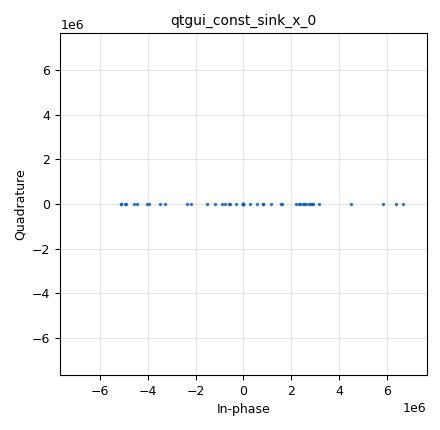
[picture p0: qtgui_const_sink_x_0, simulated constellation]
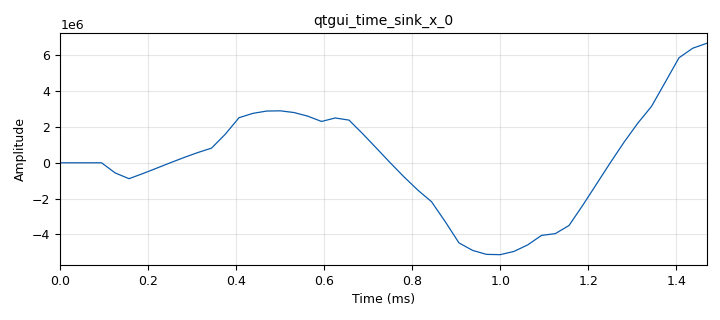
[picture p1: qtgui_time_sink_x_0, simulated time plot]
options:
  parameters:
    author: yabool2001
    copyright: mzemlo.pl@gmail.com
    description: QPSK Modulator example 01
    generate_options: qt_gui
    id: qpsk_modulator_chatgpt_01
    output_language: python
    title: ChatGPT QPSK Modulator 01
  states: {}

blocks:
- name: samp_rate
  id: variable
  parameters:
    value: '32000'
  states: {}
- name: sps
  id: variable
  parameters:
    value: '32'
  states: {}
- name: analog_sig_source_x_0
  id: analog_sig_source_x
  parameters:
    amp: '1'
    freq: '1000'
    offset: '0'
    phase: '0'
    samp_rate: samp_rate
    type: float
    waveform: analog.GR_SIN_WAVE
  states: {}
- name: analog_sig_source_x_0_0
  id: analog_sig_source_x
  parameters:
    amp: '1'
    freq: '1000'
    offset: '0'
    phase: '0'
    samp_rate: samp_rate
    type: float
    waveform: analog.GR_COS_WAVE
  states: {}
- name: blocks_add_xx_0
  id: blocks_add_xx
  parameters:
    type: float
  states: {}
- name: blocks_complex_to_float_0
  id: blocks_complex_to_float
  parameters: {}
  states: {}
- name: blocks_float_to_complex_0
  id: blocks_float_to_complex
  parameters: {}
  states: {}
- name: blocks_message_strobe_0
  id: blocks_message_strobe
  parameters:
    msg: pmt.cons ( pmt.PMT_NIL , pmt.init_u8vector ( 4 , [ 0x01 , 0x02 , 0x03 , 0x04 ] ) )
    period: '1000'
  states: {}
- name: blocks_multiply_xx_0
  id: blocks_multiply_xx
  parameters:
    type: float
  states: {}
- name: blocks_multiply_xx_0_0
  id: blocks_multiply_xx
  parameters:
    type: float
  states: {}
- name: blocks_throttle2_0
  id: blocks_throttle2
  parameters:
    samples_per_second: samp_rate
    type: float
  states: {}
- name: digital_chunks_to_symbols_xx_0
  id: digital_chunks_to_symbols_xx
  parameters:
    dimension: '2'
    in_type: byte
    out_type: complex
    symbol_table: '[ (1+1j) , (-1+1j) , (-1-1j) , (1-1j) ]'
  states: {}
- name: pdu_pdu_to_tagged_stream_0
  id: pdu_pdu_to_tagged_stream
  parameters:
    tag: packet_len
    type: byte
  states: {}
- name: qtgui_const_sink_x_0
  id: qtgui_const_sink_x
  parameters:
    autoscale: 'True'
    size: '128'
    type: complex
  states: {}
- name: qtgui_time_sink_x_0
  id: qtgui_time_sink_x
  parameters:
    autoscale: 'True'
    size: '128'
    srate: samp_rate
    type: float
  states: {}
- name: root_raised_cosine_filter_0
  id: root_raised_cosine_filter
  parameters:
    alpha: '0.35'
    decim: '1'
    gain: '1'
    ntaps: 11*samp_rate
    samp_rate: samp_rate
    sym_rate: sps
    type: fir_filter_ccf
  states: {}

connections:
- [analog_sig_source_x_0, '0', blocks_multiply_xx_0, '1']
- [analog_sig_source_x_0_0, '0', blocks_multiply_xx_0_0, '0']
- [blocks_add_xx_0, '0', blocks_throttle2_0, '0']
- [blocks_complex_to_float_0, '0', blocks_multiply_xx_0_0, '1']
- [blocks_complex_to_float_0, '1', blocks_multiply_xx_0, '0']
- [blocks_float_to_complex_0, '0', qtgui_const_sink_x_0, '0']
- [blocks_message_strobe_0, strobe, pdu_pdu_to_tagged_stream_0, pdus]
- [blocks_multiply_xx_0, '0', blocks_add_xx_0, '1']
- [blocks_multiply_xx_0, '0', blocks_float_to_complex_0, '1']
- [blocks_multiply_xx_0_0, '0', blocks_add_xx_0, '0']
- [blocks_multiply_xx_0_0, '0', blocks_float_to_complex_0, '0']
- [blocks_throttle2_0, '0', qtgui_time_sink_x_0, '0']
- [digital_chunks_to_symbols_xx_0, '0', root_raised_cosine_filter_0, '0']
- [pdu_pdu_to_tagged_stream_0, '0', digital_chunks_to_symbols_xx_0, '0']
- [root_raised_cosine_filter_0, '0', blocks_complex_to_float_0, '0']

metadata:
  file_format: 1
  grc_version: 3.10.12.0
